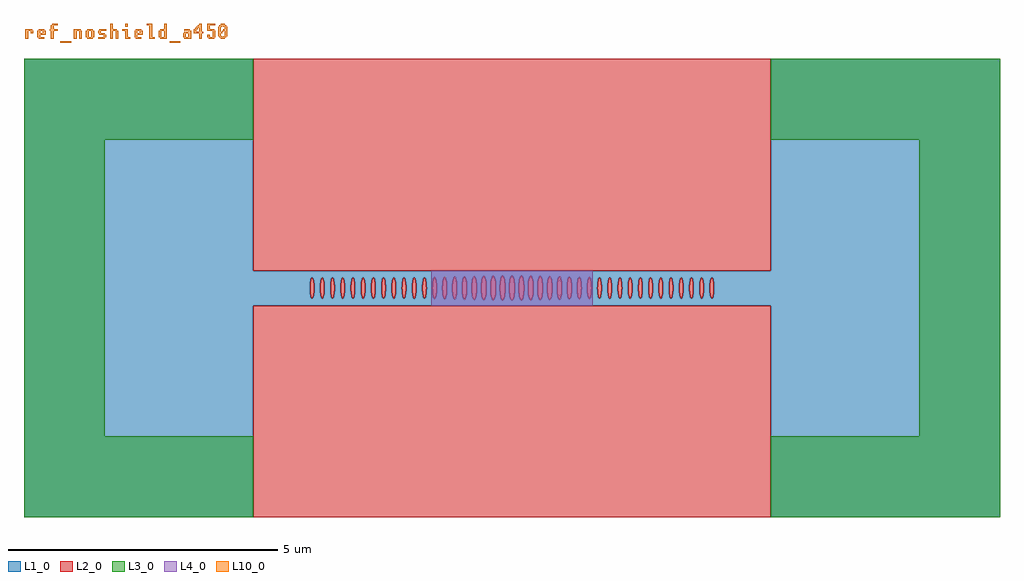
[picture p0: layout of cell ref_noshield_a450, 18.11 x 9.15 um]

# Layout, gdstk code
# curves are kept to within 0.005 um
import gdstk
lib = gdstk.Library(unit=1e-6, precision=1e-09)
def R(c, l, rs):  # rectangles x0, y0, x1, y1
    for r in rs: c.add(gdstk.rectangle(r[:2], r[2:], *l))
def P(c, l, *ps):  # polygons
    for p in ps: c.add(gdstk.Polygon(p, *l))
L1_0 = (1, 0)
L2_0 = (2, 0)
L3_0 = (3, 0)
L4_0 = (4, 0)
L10_0 = (10, 0)

ref_noshield_a450 = lib.new_cell('ref_noshield_a450')
P(ref_noshield_a450, L1_0, [(-2.796,0.075),(-2.796,0.325),(-4.803,0.325),(-4.803,4.25),(-9.053,4.25),(-9.053,-0.038),(-3.746,-0.038),(-3.74,0.108),(-3.73,0.162),(-3.709,0.195),(-3.694,0.18),(-3.682,0.138),(-3.671,0),(-3.557,0),(-3.546,0.138),(-3.534,0.18),(-3.519,0.195),(-3.512,0.191),(-3.498,0.162),(-3.487,0.108),(-3.482,-0.038),(-3.367,-0.038),(-3.361,0.108),(-3.351,0.162),(-3.33,0.195),(-3.315,0.18),(-3.303,0.138),(-3.292,0),(-3.178,0),(-3.167,0.138),(-3.155,0.18),(-3.14,0.195),(-3.119,0.162),(-3.108,0.108),(-3.103,-0.038),(-2.988,-0.038),(-2.982,0.108),(-2.972,0.162),(-2.951,0.195),(-2.929,0.162),(-2.913,0.038),(-2.919,-0.108),(-2.929,-0.162),(-2.951,-0.195),(-2.972,-0.162),(-2.988,-0.038),(-3.103,-0.038),(-3.119,-0.162),(-3.133,-0.191),(-3.147,-0.191),(-3.161,-0.162),(-3.172,-0.108),(-3.178,0),(-3.292,0),(-3.303,-0.138),(-3.315,-0.18),(-3.33,-0.195),(-3.351,-0.162),(-3.367,-0.038),(-3.482,-0.038),(-3.498,-0.162),(-3.512,-0.191),(-3.526,-0.191),(-3.54,-0.162),(-3.551,-0.108),(-3.557,0),(-3.671,0),(-3.682,-0.138),(-3.694,-0.18),(-3.709,-0.195),(-3.73,-0.162),(-3.746,-0.038),(-9.053,-0.038),(-9.053,-4.25),(-4.803,-4.25),(-4.803,-0.325),(-2.796,-0.325)],
  [(-1.849,0.075),(-1.835,0.162),(-1.821,0.191),(-1.821,0.325),(-2.796,0.325),(-2.796,0.075),(-2.776,0.18),(-2.761,0.195),(-2.754,0.191),(-2.74,0.162),(-2.729,0.108),(-2.724,-0.038),(-2.609,-0.038),(-2.603,0.108),(-2.593,0.162),(-2.572,0.195),(-2.557,0.18),(-2.545,0.138),(-2.534,0),(-2.42,0),(-2.409,0.138),(-2.397,0.18),(-2.382,0.195),(-2.361,0.162),(-2.35,0.108),(-2.345,-0.038),(-2.23,-0.038),(-2.224,0.108),(-2.214,0.162),(-2.193,0.195),(-2.178,0.18),(-2.166,0.138),(-2.155,0),(-2.041,0),(-2.03,0.138),(-2.018,0.18),(-2.003,0.195),(-1.996,0.191),(-1.982,0.162),(-1.971,0.108),(-1.965,0),(-1.976,-0.138),(-1.989,-0.18),(-2.003,-0.195),(-2.018,-0.18),(-2.03,-0.138),(-2.041,0),(-2.155,0),(-2.166,-0.138),(-2.178,-0.18),(-2.193,-0.195),(-2.214,-0.162),(-2.23,-0.038),(-2.345,-0.038),(-2.355,-0.138),(-2.368,-0.18),(-2.382,-0.195),(-2.397,-0.18),(-2.409,-0.138),(-2.42,0),(-2.534,0),(-2.545,-0.138),(-2.557,-0.18),(-2.572,-0.195),(-2.593,-0.162),(-2.609,-0.038),(-2.724,-0.038),(-2.734,-0.138),(-2.747,-0.18),(-2.761,-0.195),(-2.782,-0.162),(-2.796,-0.075),(-2.796,-0.325),(-1.821,-0.325),(-1.821,-0.191),(-1.835,-0.162),(-1.849,-0.075)],
  [(-1.806,0.191),(-1.792,0.162),(-1.782,0.108),(-1.776,0),(-1.663,0),(-1.651,0.139),(-1.639,0.181),(-1.624,0.196),(-1.61,0.181),(-1.597,0.139),(-1.586,0),(-1.475,0),(-1.464,0.141),(-1.451,0.184),(-1.436,0.199),(-1.421,0.184),(-1.408,0.141),(-1.396,-0.019),(-1.29,-0.019),(-1.276,0.154),(-1.262,0.193),(-1.247,0.204),(-1.232,0.185),(-1.219,0.141),(-1.209,-0.02),(-1.107,-0.02),(-1.098,0.129),(-1.078,0.197),(-1.062,0.209),(-1.046,0.19),(-1.033,0.144),(-1.021,-0.02),(-1.033,-0.144),(-1.046,-0.19),(-1.062,-0.209),(-1.078,-0.197),(-1.092,-0.158),(-1.107,-0.02),(-1.209,-0.02),(-1.219,-0.141),(-1.232,-0.185),(-1.247,-0.204),(-1.262,-0.193),(-1.276,-0.154),(-1.29,-0.019),(-1.396,-0.019),(-1.408,-0.141),(-1.421,-0.184),(-1.436,-0.199),(-1.451,-0.184),(-1.464,-0.141),(-1.475,0),(-1.586,0),(-1.597,-0.139),(-1.61,-0.181),(-1.624,-0.196),(-1.639,-0.181),(-1.651,-0.139),(-1.663,0),(-1.776,0),(-1.778,-0.075),(-1.792,-0.162),(-1.806,-0.191),(-1.821,-0.191),(-1.821,-0.325),(-0.888,-0.325),(-0.888,-0.212),(-0.904,-0.185),(-0.917,-0.132),(-0.926,-0.02),(-0.917,0.132),(-0.904,0.185),(-0.888,0.212),(-0.888,0.325),(-1.821,0.325),(-1.821,0.191)],
  [(-0.048,0.082),(-0.031,0.182),(-0.005,0.227),(-0.005,0.325),(-0.888,0.325),(-0.888,0.212),(-0.871,0.208),(-0.849,0.147),(-0.837,0.04),(-0.837,-0.04),(-0.748,-0.04),(-0.748,0.04),(-0.736,0.147),(-0.722,0.195),(-0.706,0.217),(-0.688,0.21),(-0.667,0.147),(-0.655,0.04),(-0.655,-0.041),(-0.572,-0.041),(-0.572,0.041),(-0.56,0.15),(-0.545,0.199),(-0.528,0.221),(-0.51,0.214),(-0.487,0.15),(-0.475,0),(-0.398,0),(-0.385,0.152),(-0.37,0.201),(-0.352,0.224),(-0.343,0.224),(-0.325,0.201),(-0.31,0.152),(-0.297,0),(-0.225,0),(-0.212,0.153),(-0.188,0.218),(-0.169,0.226),(-0.15,0.203),(-0.135,0.153),(-0.122,0),(-0.135,-0.153),(-0.15,-0.203),(-0.169,-0.226),(-0.188,-0.218),(-0.212,-0.153),(-0.225,0),(-0.297,0),(-0.31,-0.152),(-0.325,-0.201),(-0.343,-0.224),(-0.362,-0.216),(-0.385,-0.152),(-0.398,0),(-0.475,0),(-0.487,-0.15),(-0.502,-0.199),(-0.519,-0.221),(-0.537,-0.214),(-0.553,-0.177),(-0.572,-0.041),(-0.655,-0.041),(-0.673,-0.174),(-0.688,-0.21),(-0.706,-0.217),(-0.73,-0.174),(-0.748,-0.04),(-0.837,-0.04),(-0.855,-0.174),(-0.871,-0.208),(-0.888,-0.212),(-0.888,-0.325),(-0.005,-0.325),(-0.005,-0.227),(-0.023,-0.204),(-0.044,-0.12),(-0.052,0)],
  [(0.048,-0.082),(0.023,-0.204),(0.005,-0.227),(-0.005,-0.227),(-0.005,-0.325),(0.867,-0.325),(0.867,-0.202),(0.846,-0.132),(0.837,-0.02),(0.846,0.132),(0.867,0.202),(0.867,0.325),(-0.005,0.325),(-0.005,0.227),(0.014,0.219),(0.031,0.182),(0.044,0.12),(0.052,0),(0.122,0),(0.135,0.153),(0.15,0.203),(0.169,0.226),(0.188,0.218),(0.212,0.153),(0.225,0),(0.297,0),(0.31,0.152),(0.325,0.201),(0.343,0.224),(0.362,0.216),(0.385,0.152),(0.395,0.081),(0.397,-0.041),(0.475,-0.041),(0.475,0.041),(0.487,0.15),(0.502,0.199),(0.519,0.221),(0.537,0.214),(0.56,0.15),(0.572,0),(0.654,0),(0.661,0.115),(0.673,0.174),(0.688,0.21),(0.706,0.217),(0.73,0.174),(0.748,0.04),(0.748,-0.04),(0.736,-0.147),(0.722,-0.195),(0.706,-0.217),(0.688,-0.21),(0.673,-0.174),(0.661,-0.115),(0.654,0),(0.572,0),(0.56,-0.15),(0.545,-0.199),(0.528,-0.221),(0.51,-0.214),(0.494,-0.177),(0.475,-0.041),(0.397,-0.041),(0.385,-0.152),(0.37,-0.201),(0.352,-0.224),(0.343,-0.224),(0.325,-0.201),(0.31,-0.152),(0.297,0),(0.225,0),(0.212,-0.153),(0.196,-0.203),(0.178,-0.226),(0.159,-0.218),(0.15,-0.203),(0.135,-0.153),(0.122,0),(0.052,0)],
  [(0.884,0.213),(0.9,0.194),(0.914,0.147),(0.926,-0.02),(1.021,-0.02),(1.03,0.129),(1.043,0.181),(1.058,0.207),(1.066,0.209),(1.082,0.19),(1.095,0.144),(1.107,-0.019),(1.208,-0.019),(1.222,0.154),(1.236,0.193),(1.251,0.204),(1.266,0.185),(1.279,0.141),(1.29,0),(1.396,0),(1.408,0.141),(1.421,0.184),(1.436,0.199),(1.451,0.184),(1.464,0.141),(1.475,0),(1.586,0),(1.597,0.139),(1.61,0.181),(1.624,0.196),(1.646,0.163),(1.656,0.109),(1.662,-0.038),(1.646,-0.163),(1.624,-0.196),(1.61,-0.181),(1.597,-0.139),(1.586,0),(1.475,0),(1.464,-0.141),(1.451,-0.184),(1.436,-0.199),(1.421,-0.184),(1.408,-0.141),(1.396,0),(1.29,0),(1.279,-0.141),(1.266,-0.185),(1.251,-0.204),(1.236,-0.193),(1.222,-0.154),(1.208,-0.019),(1.107,-0.019),(1.095,-0.144),(1.082,-0.19),(1.066,-0.209),(1.05,-0.197),(1.036,-0.158),(1.021,-0.02),(0.926,-0.02),(0.908,-0.174),(0.892,-0.208),(0.875,-0.212),(0.867,-0.202),(0.867,-0.325),(1.814,-0.325),(1.814,-0.195),(1.792,-0.162),(1.776,-0.038),(1.782,0.108),(1.792,0.162),(1.814,0.195),(1.814,0.325),(0.867,0.325),(0.867,0.202)],
  [(2.726,0.075),(2.74,0.162),(2.761,0.195),(2.776,0.18),(2.793,0.108),(2.793,0.325),(1.814,0.325),(1.814,0.195),(1.828,0.18),(1.84,0.138),(1.851,0),(1.965,0),(1.976,0.138),(1.989,0.18),(2.003,0.195),(2.018,0.18),(2.035,0.108),(2.04,-0.038),(2.155,-0.038),(2.161,0.108),(2.171,0.162),(2.193,0.195),(2.207,0.18),(2.219,0.138),(2.23,0),(2.344,0),(2.355,0.138),(2.368,0.18),(2.382,0.195),(2.397,0.18),(2.414,0.108),(2.419,-0.038),(2.534,-0.038),(2.54,0.108),(2.55,0.162),(2.572,0.195),(2.593,0.162),(2.609,0.038),(2.603,-0.108),(2.593,-0.162),(2.572,-0.195),(2.55,-0.162),(2.534,-0.038),(2.419,-0.038),(2.403,-0.162),(2.389,-0.191),(2.375,-0.191),(2.361,-0.162),(2.35,-0.108),(2.344,0),(2.23,0),(2.219,-0.138),(2.207,-0.18),(2.193,-0.195),(2.171,-0.162),(2.155,-0.038),(2.04,-0.038),(2.03,-0.138),(2.018,-0.18),(2.003,-0.195),(1.989,-0.18),(1.976,-0.138),(1.965,0),(1.851,0),(1.84,-0.138),(1.828,-0.18),(1.814,-0.195),(1.814,-0.325),(2.793,-0.325),(2.793,-0.108),(2.782,-0.162),(2.768,-0.191),(2.754,-0.191),(2.74,-0.162),(2.726,-0.075)],
  [(2.793,-0.108),(2.793,-0.325),(4.803,-0.325),(4.803,-4.25),(9.053,-4.25),(9.053,4.25),(4.803,4.25),(4.803,0.325),(2.793,0.325),(2.798,-0.038),(2.913,-0.038),(2.919,0.108),(2.929,0.162),(2.951,0.195),(2.965,0.18),(2.977,0.138),(2.988,0),(3.102,0),(3.113,0.138),(3.133,0.191),(3.147,0.191),(3.161,0.162),(3.172,0.108),(3.177,-0.038),(3.292,-0.038),(3.298,0.108),(3.308,0.162),(3.33,0.195),(3.344,0.18),(3.356,0.138),(3.367,0),(3.481,0),(3.492,0.138),(3.505,0.18),(3.519,0.195),(3.534,0.18),(3.551,0.108),(3.556,-0.038),(3.671,-0.038),(3.677,0.108),(3.687,0.162),(3.709,0.195),(3.73,0.162),(3.746,0.038),(3.74,-0.108),(3.73,-0.162),(3.709,-0.195),(3.687,-0.162),(3.671,-0.038),(3.556,-0.038),(3.54,-0.162),(3.526,-0.191),(3.512,-0.191),(3.498,-0.162),(3.487,-0.108),(3.481,0),(3.367,0),(3.356,-0.138),(3.344,-0.18),(3.33,-0.195),(3.308,-0.162),(3.292,-0.038),(3.177,-0.038),(3.161,-0.162),(3.147,-0.191),(3.133,-0.191),(3.119,-0.162),(3.108,-0.108),(3.102,0),(2.988,0),(2.977,-0.138),(2.965,-0.18),(2.951,-0.195),(2.929,-0.162),(2.913,-0.038),(2.798,-0.038)])
R(ref_noshield_a450, L2_0, [(-4.803,-4.25,4.803,-0.325), (-4.803,0.325,4.803,4.25)])
P(ref_noshield_a450, L2_0, [(1.968,-0.075),(1.982,-0.162),(2.003,-0.195),(2.018,-0.18),(2.035,-0.108),(2.041,0),(2.035,0.108),(2.018,0.18),(2.003,0.195),(1.982,0.162),(1.971,0.108)],
  [(-0.222,-0.082),(-0.212,-0.153),(-0.188,-0.218),(-0.178,-0.226),(-0.159,-0.218),(-0.135,-0.153),(-0.123,-0.042),(-0.125,0.082),(-0.142,0.181),(-0.169,0.226),(-0.188,0.218),(-0.212,0.153),(-0.224,0.042)],
  [(3.484,-0.075),(3.498,-0.162),(3.519,-0.195),(3.534,-0.18),(3.551,-0.108),(3.557,0),(3.551,0.108),(3.534,0.18),(3.519,0.195),(3.498,0.162),(3.487,0.108)],
  [(-3.554,-0.075),(-3.54,-0.162),(-3.519,-0.195),(-3.498,-0.162),(-3.487,-0.108),(-3.481,0),(-3.487,0.108),(-3.498,0.162),(-3.519,0.195),(-3.534,0.18),(-3.551,0.108)],
  [(3.105,-0.075),(3.119,-0.162),(3.14,-0.195),(3.155,-0.18),(3.172,-0.108),(3.178,0),(3.172,0.108),(3.155,0.18),(3.14,0.195),(3.119,0.162),(3.108,0.108)],
  [(-3.175,-0.075),(-3.161,-0.162),(-3.14,-0.195),(-3.119,-0.162),(-3.108,-0.108),(-3.102,0),(-3.108,0.108),(-3.119,0.162),(-3.14,0.195),(-3.155,0.18),(-3.172,0.108)],
  [(2.726,-0.075),(2.74,-0.162),(2.761,-0.195),(2.776,-0.18),(2.793,-0.108),(2.799,0),(2.793,0.108),(2.776,0.18),(2.761,0.195),(2.74,0.162),(2.729,0.108)],
  [(-2.796,-0.075),(-2.782,-0.162),(-2.761,-0.195),(-2.74,-0.162),(-2.729,-0.108),(-2.723,0),(-2.729,0.108),(-2.74,0.162),(-2.761,0.195),(-2.776,0.18),(-2.793,0.108)],
  [(2.347,-0.075),(2.361,-0.162),(2.382,-0.195),(2.397,-0.18),(2.414,-0.108),(2.42,0),(2.414,0.108),(2.397,0.18),(2.382,0.195),(2.361,0.162),(2.35,0.108)],
  [(-2.417,-0.075),(-2.403,-0.162),(-2.382,-0.195),(-2.361,-0.162),(-2.35,-0.108),(-2.344,0),(-2.35,0.108),(-2.361,0.162),(-2.382,0.195),(-2.397,0.18),(-2.414,0.108)],
  [(-2.038,-0.075),(-2.024,-0.162),(-2.003,-0.195),(-1.982,-0.162),(-1.971,-0.108),(-1.965,0),(-1.971,0.108),(-1.982,0.162),(-2.003,0.195),(-2.018,0.18),(-2.035,0.108)],
  [(-1.66,-0.075),(-1.646,-0.163),(-1.632,-0.192),(-1.624,-0.196),(-1.61,-0.181),(-1.592,-0.109),(-1.586,0),(-1.592,0.109),(-1.603,0.163),(-1.624,0.196),(-1.646,0.163),(-1.656,0.109)],
  [(1.589,-0.075),(1.603,-0.163),(1.624,-0.196),(1.646,-0.163),(1.656,-0.109),(1.66,0.075),(1.646,0.163),(1.624,0.196),(1.603,0.163),(1.592,0.109)],
  [(1.472,0.076),(1.464,0.141),(1.444,0.196),(1.428,0.196),(1.421,0.184),(1.403,0.111),(1.399,-0.076),(1.414,-0.166),(1.436,-0.199),(1.458,-0.166),(1.469,-0.111)],
  [(-0.301,0.081),(-0.317,0.18),(-0.343,0.224),(-0.362,0.216),(-0.37,0.201),(-0.391,0.118),(-0.398,0),(-0.391,-0.118),(-0.378,-0.18),(-0.352,-0.224),(-0.343,-0.224),(-0.325,-0.201),(-0.31,-0.152),(-0.298,-0.041)],
  [(0.658,-0.079),(0.673,-0.174),(0.688,-0.21),(0.697,-0.217),(0.714,-0.21),(0.736,-0.147),(0.748,-0.04),(0.745,0.079),(0.73,0.174),(0.706,0.217),(0.688,0.21),(0.68,0.195),(0.661,0.115),(0.654,0)],
  [(-1.472,-0.076),(-1.464,-0.141),(-1.444,-0.196),(-1.428,-0.196),(-1.421,-0.184),(-1.403,-0.111),(-1.396,-0.019),(-1.399,0.076),(-1.414,0.166),(-1.436,0.199),(-1.458,0.166),(-1.469,0.111)],
  [(0.301,-0.081),(0.317,-0.18),(0.343,-0.224),(0.362,-0.216),(0.37,-0.201),(0.391,-0.118),(0.398,0),(0.391,0.118),(0.378,0.18),(0.352,0.224),(0.343,0.224),(0.325,0.201),(0.31,0.152),(0.298,0.041)],
  [(0.222,0.082),(0.212,0.153),(0.188,0.218),(0.178,0.226),(0.159,0.218),(0.135,0.153),(0.123,0.042),(0.125,-0.082),(0.142,-0.181),(0.169,-0.226),(0.188,-0.218),(0.212,-0.153),(0.224,-0.042)],
  [(0.048,0.082),(0.031,0.182),(0.005,0.227),(-0.005,0.227),(-0.023,0.204),(-0.044,0.12),(-0.052,0),(-0.044,-0.12),(-0.023,-0.204),(-0.005,-0.227),(0.005,-0.227),(0.023,-0.204),(0.044,-0.12),(0.052,0)],
  [(1.287,0.076),(1.273,0.166),(1.251,0.204),(1.228,0.176),(1.217,0.126),(1.208,0.019),(1.213,-0.093),(1.228,-0.176),(1.251,-0.204),(1.273,-0.166),(1.283,-0.11)],
  [(-1.285,-0.093),(-1.269,-0.176),(-1.255,-0.202),(-1.247,-0.204),(-1.225,-0.166),(-1.214,-0.11),(-1.208,0),(-1.214,0.11),(-1.225,0.166),(-1.247,0.204),(-1.262,0.193),(-1.281,0.126),(-1.29,0.019)],
  [(-0.921,-0.098),(-0.911,-0.162),(-0.888,-0.212),(-0.871,-0.208),(-0.863,-0.194),(-0.844,-0.116),(-0.837,-0.04),(-0.84,0.079),(-0.855,0.174),(-0.879,0.213),(-0.888,0.212),(-0.904,0.185),(-0.917,0.132),(-0.926,0.02)],
  [(0.842,-0.098),(0.852,-0.162),(0.875,-0.212),(0.892,-0.208),(0.9,-0.194),(0.919,-0.116),(0.926,-0.04),(0.923,0.079),(0.908,0.174),(0.884,0.213),(0.875,0.212),(0.859,0.185),(0.846,0.132),(0.837,0.02)],
  [(1.106,0.04),(1.095,0.144),(1.074,0.203),(1.066,0.209),(1.05,0.197),(1.03,0.129),(1.021,0.02),(1.026,-0.096),(1.043,-0.181),(1.066,-0.209),(1.082,-0.19),(1.1,-0.113)],
  [(-1.022,0.04),(-1.033,0.144),(-1.054,0.203),(-1.062,0.209),(-1.078,0.197),(-1.098,0.129),(-1.107,0.02),(-1.102,-0.096),(-1.085,-0.181),(-1.062,-0.209),(-1.046,-0.19),(-1.028,-0.113)],
  [(3.677,-0.108),(3.687,-0.162),(3.709,-0.195),(3.73,-0.162),(3.744,-0.075),(3.74,0.108),(3.73,0.162),(3.709,0.195),(3.687,0.162),(3.673,0.075)],
  [(1.849,0.075),(1.835,0.162),(1.814,0.195),(1.792,0.162),(1.782,0.108),(1.778,-0.075),(1.792,-0.162),(1.814,-0.195),(1.835,-0.162),(1.845,-0.108)],
  [(-1.778,0.075),(-1.792,0.162),(-1.814,0.195),(-1.835,0.162),(-1.845,0.108),(-1.849,-0.075),(-1.835,-0.162),(-1.814,-0.195),(-1.792,-0.162),(-1.782,-0.108)],
  [(-2.157,0.075),(-2.171,0.162),(-2.193,0.195),(-2.214,0.162),(-2.224,0.108),(-2.228,-0.075),(-2.214,-0.162),(-2.193,-0.195),(-2.171,-0.162),(-2.161,-0.108)],
  [(2.228,0.075),(2.214,0.162),(2.193,0.195),(2.171,0.162),(2.161,0.108),(2.157,-0.075),(2.171,-0.162),(2.193,-0.195),(2.214,-0.162),(2.224,-0.108)],
  [(-2.536,0.075),(-2.55,0.162),(-2.572,0.195),(-2.593,0.162),(-2.603,0.108),(-2.607,-0.075),(-2.593,-0.162),(-2.572,-0.195),(-2.55,-0.162),(-2.54,-0.108)],
  [(2.607,0.075),(2.593,0.162),(2.572,0.195),(2.55,0.162),(2.54,0.108),(2.536,-0.075),(2.55,-0.162),(2.572,-0.195),(2.593,-0.162),(2.603,-0.108)],
  [(-2.915,0.075),(-2.929,0.162),(-2.951,0.195),(-2.972,0.162),(-2.982,0.108),(-2.986,-0.075),(-2.972,-0.162),(-2.951,-0.195),(-2.929,-0.162),(-2.919,-0.108)],
  [(2.986,0.075),(2.972,0.162),(2.951,0.195),(2.929,0.162),(2.919,0.108),(2.915,-0.075),(2.929,-0.162),(2.951,-0.195),(2.972,-0.162),(2.982,-0.108)],
  [(-3.294,0.075),(-3.308,0.162),(-3.33,0.195),(-3.351,0.162),(-3.361,0.108),(-3.365,-0.075),(-3.351,-0.162),(-3.33,-0.195),(-3.308,-0.162),(-3.298,-0.108)],
  [(3.365,0.075),(3.351,0.162),(3.33,0.195),(3.308,0.162),(3.298,0.108),(3.294,-0.075),(3.308,-0.162),(3.33,-0.195),(3.351,-0.162),(3.361,-0.108)],
  [(-3.673,0.075),(-3.687,0.162),(-3.709,0.195),(-3.73,0.162),(-3.74,0.108),(-3.744,-0.075),(-3.73,-0.162),(-3.709,-0.195),(-3.687,-0.162),(-3.677,-0.108)],
  [(-0.741,-0.115),(-0.73,-0.174),(-0.706,-0.217),(-0.688,-0.21),(-0.68,-0.195),(-0.661,-0.115),(-0.654,0),(-0.661,0.115),(-0.68,0.195),(-0.697,0.217),(-0.714,0.21),(-0.722,0.195),(-0.741,0.115),(-0.748,0.04)],
  [(-0.478,0.08),(-0.487,0.15),(-0.51,0.214),(-0.519,0.221),(-0.537,0.214),(-0.56,0.15),(-0.572,0.041),(-0.569,-0.08),(-0.553,-0.177),(-0.528,-0.221),(-0.51,-0.214),(-0.487,-0.15),(-0.475,-0.041)],
  [(0.569,0.08),(0.56,0.15),(0.537,0.214),(0.528,0.221),(0.51,0.214),(0.487,0.15),(0.475,0.041),(0.478,-0.08),(0.494,-0.177),(0.519,-0.221),(0.537,-0.214),(0.56,-0.15),(0.572,-0.041)])
P(ref_noshield_a450, L3_0, [(9.053,-4.25),(9.053,4.25),(4.803,4.25),(4.803,2.75),(7.553,2.75),(7.553,-2.75),(4.803,-2.75),(4.803,-4.25)],
  [(-4.803,-2.75),(-7.553,-2.75),(-7.553,2.75),(-4.803,2.75),(-4.803,4.25),(-9.053,4.25),(-9.053,-4.25),(-4.803,-4.25)])
R(ref_noshield_a450, L4_0, [(-1.5,-0.325,1.5,0.325)])
R(ref_noshield_a450, L10_0, [(-8.378,4.55,-8.178,4.575), (-6.353,4.55,-6.153,4.575), (-5.378,4.75,-5.353,4.775), (-7.178,4.85,-7.128,4.9)])
P(ref_noshield_a450, L10_0, [(-8.978,4.625),(-8.978,4.775),(-8.928,4.775),(-8.928,4.725),(-8.878,4.725),(-8.878,4.775),(-8.903,4.775),(-8.903,4.8),(-9.028,4.8),(-9.028,4.625)],
  [(-8.778,4.65),(-8.778,4.625),(-8.678,4.625),(-8.678,4.65),(-8.753,4.65),(-8.753,4.7),(-8.653,4.7),(-8.653,4.775),(-8.678,4.775),(-8.678,4.8),(-8.778,4.8),(-8.778,4.775),(-8.803,4.775),(-8.803,4.725),(-8.753,4.725),(-8.753,4.775),(-8.703,4.775),(-8.703,4.725),(-8.753,4.725),(-8.803,4.725),(-8.803,4.65)],
  [(-8.553,4.8),(-8.578,4.8),(-8.578,4.775),(-8.553,4.775),(-8.553,4.625),(-8.503,4.625),(-8.503,4.775),(-8.428,4.775),(-8.428,4.8),(-8.503,4.8),(-8.503,4.875),(-8.428,4.875),(-8.428,4.9),(-8.528,4.9),(-8.528,4.875),(-8.553,4.875)],
  [(-8.078,4.625),(-8.078,4.775),(-8.028,4.775),(-8.028,4.625),(-7.978,4.625),(-7.978,4.775),(-8.003,4.775),(-8.003,4.8),(-8.128,4.8),(-8.128,4.625)],
  [(-7.753,4.775),(-7.778,4.775),(-7.778,4.8),(-7.878,4.8),(-7.878,4.775),(-7.903,4.775),(-7.903,4.65),(-7.853,4.65),(-7.853,4.775),(-7.803,4.775),(-7.803,4.65),(-7.853,4.65),(-7.903,4.65),(-7.878,4.65),(-7.878,4.625),(-7.778,4.625),(-7.778,4.65),(-7.753,4.65)],
  [(-7.678,4.725),(-7.653,4.725),(-7.653,4.7),(-7.578,4.7),(-7.578,4.65),(-7.678,4.65),(-7.678,4.625),(-7.553,4.625),(-7.553,4.65),(-7.528,4.65),(-7.528,4.7),(-7.553,4.7),(-7.553,4.725),(-7.628,4.725),(-7.628,4.775),(-7.528,4.775),(-7.528,4.8),(-7.653,4.8),(-7.653,4.775),(-7.678,4.775)],
  [(-7.403,4.625),(-7.403,4.775),(-7.353,4.775),(-7.353,4.625),(-7.303,4.625),(-7.303,4.775),(-7.328,4.775),(-7.328,4.8),(-7.403,4.8),(-7.403,4.9),(-7.453,4.9),(-7.453,4.625)],
  [(-7.178,4.625),(-7.078,4.625),(-7.078,4.65),(-7.128,4.65),(-7.128,4.8),(-7.228,4.8),(-7.228,4.775),(-7.178,4.775)],
  [(-6.978,4.65),(-6.978,4.625),(-6.878,4.625),(-6.878,4.65),(-6.953,4.65),(-6.953,4.7),(-6.853,4.7),(-6.853,4.775),(-6.878,4.775),(-6.878,4.8),(-6.978,4.8),(-6.978,4.775),(-7.003,4.775),(-7.003,4.725),(-6.953,4.725),(-6.953,4.775),(-6.903,4.775),(-6.903,4.725),(-6.953,4.725),(-7.003,4.725),(-7.003,4.65)],
  [(-6.728,4.625),(-6.628,4.625),(-6.628,4.65),(-6.678,4.65),(-6.678,4.9),(-6.778,4.9),(-6.778,4.875),(-6.728,4.875)],
  [(-6.453,4.9),(-6.453,4.8),(-6.528,4.8),(-6.528,4.775),(-6.553,4.775),(-6.553,4.65),(-6.503,4.65),(-6.503,4.775),(-6.453,4.775),(-6.453,4.65),(-6.503,4.65),(-6.553,4.65),(-6.528,4.65),(-6.528,4.625),(-6.403,4.625),(-6.403,4.9)],
  [(-5.978,4.775),(-5.978,4.8),(-6.078,4.8),(-6.078,4.775),(-6.003,4.775),(-6.003,4.75),(-6.078,4.75),(-6.078,4.725),(-6.103,4.725),(-6.103,4.65),(-6.053,4.65),(-6.053,4.725),(-6.003,4.725),(-6.003,4.65),(-6.053,4.65),(-6.103,4.65),(-6.078,4.65),(-6.078,4.625),(-5.953,4.625),(-5.953,4.775)],
  [(-5.753,4.625),(-5.753,4.725),(-5.728,4.725),(-5.728,4.75),(-5.753,4.75),(-5.753,4.9),(-5.803,4.9),(-5.803,4.875),(-5.828,4.875),(-5.828,4.85),(-5.853,4.85),(-5.853,4.825),(-5.878,4.825),(-5.878,4.8),(-5.903,4.8),(-5.903,4.75),(-5.853,4.75),(-5.853,4.8),(-5.828,4.8),(-5.828,4.825),(-5.803,4.825),(-5.803,4.75),(-5.853,4.75),(-5.903,4.75),(-5.903,4.725),(-5.803,4.725),(-5.803,4.625)],
  [(-5.628,4.65),(-5.628,4.625),(-5.528,4.625),(-5.528,4.65),(-5.503,4.65),(-5.503,4.775),(-5.528,4.775),(-5.528,4.8),(-5.603,4.8),(-5.603,4.875),(-5.503,4.875),(-5.503,4.9),(-5.653,4.9),(-5.653,4.775),(-5.553,4.775),(-5.553,4.65),(-5.603,4.65),(-5.603,4.7),(-5.653,4.7),(-5.653,4.65)],
  [(-5.303,4.675),(-5.278,4.675),(-5.278,4.85),(-5.303,4.85),(-5.303,4.875),(-5.328,4.875),(-5.328,4.9),(-5.403,4.9),(-5.403,4.875),(-5.428,4.875),(-5.428,4.85),(-5.453,4.85),(-5.453,4.675),(-5.403,4.675),(-5.403,4.725),(-5.378,4.725),(-5.378,4.75),(-5.403,4.75),(-5.403,4.85),(-5.378,4.85),(-5.378,4.875),(-5.353,4.875),(-5.353,4.85),(-5.328,4.85),(-5.328,4.8),(-5.353,4.8),(-5.353,4.775),(-5.328,4.775),(-5.328,4.675),(-5.353,4.675),(-5.353,4.65),(-5.378,4.65),(-5.378,4.675),(-5.403,4.675),(-5.453,4.675),(-5.428,4.675),(-5.428,4.65),(-5.403,4.65),(-5.403,4.625),(-5.328,4.625),(-5.328,4.65),(-5.303,4.65)])

lib.write_gds('ref_noshield_a450.gds')
